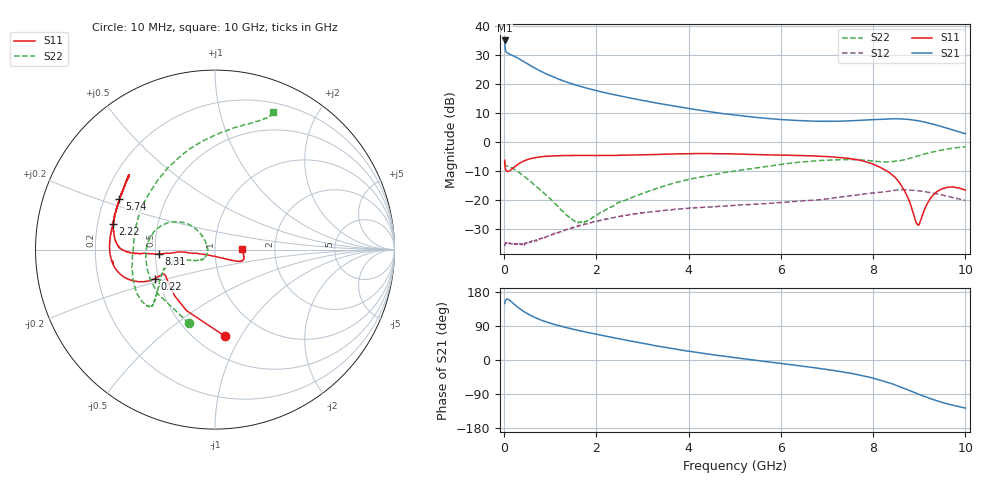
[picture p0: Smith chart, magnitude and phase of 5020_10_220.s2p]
# Hz S  dB  R 50
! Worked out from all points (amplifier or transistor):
!   1000 points, 10 MHz to 10 GHz, reference 50 ohm
!   highest |S21| = 35.0 dB at 10 MHz (marker M1)
!   |S21| within 3 dB of that: start of sweep to 25.94 MHz
!   unconditionally stable (mu >= 1): 58.7 MHz to end of sweep
!   at 1.67 GHz: K = 1.15, MAG = 21.5 dB, |S12| = -28.6 dB
!   at 5.01 GHz: K = 1.10, MAG = 13.6 dB, |S12| = -21.7 dB
!   at 10 GHz: K = 1.10, MAG = 9.5 dB, |S12| = -20.1 dB
!   S11 on the Smith chart (normalised r, x): 10 MHz: 0.68, -0.86; 220 MHz: 0.48, -0.18; 2.22 GHz: 0.26, +0.11; 5.74 GHz: 0.26, +0.23; 8.31 GHz: 0.52, -0.03; 10 GHz: 1.35, +0.00
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1e7  -6.28 -83.5  34.96 148.9  -35.84 38.1  -7.22 -109.4
7e7  -10.14 -151.5  30.63 160.6  -35.08 5.7  -8.29 -176.3
8e7  -10.09 -152.9  30.53 160.2  -34.94 8.4  -8.33 -178.9
1.1e8  -9.98 -154.6  30.31 158.2  -34.81 7.7  -8.48 174.8
2.2e8  -8.61 -154.1  29.53 146.9  -35.24 10.1  -9.34 159.7
3.1e8  -7.54 -155.0  28.75 137.9  -34.87 12.8  -10.29 151.4
4.2e8  -6.58 -157.8  27.72 128.4  -34.78 18.5  -11.63 143.9
5.8e8  -5.69 -162.0  26.21 117.1  -34.31 27.6  -13.68 136.4
7.6e8  -5.15 -166.7  24.66 107.3  -33.55 32.4  -16.13 132.9
9.3e8  -4.88 -170.4  23.34 99.9  -32.52 37.1  -18.51 132.2
1.13e9  -4.72 -174.5  21.98 92.5  -31.14 40.8  -21.58 136.5
1.36e9  -4.64 -178.7  20.63 85.2  -30.08 43.1  -25.24 148.2
1.68e9  -4.61 175.7  19.05 76.1  -28.56 42.3  -27.39 -175.2
2.22e9  -4.62 166.0  16.87 62.4  -26.48 40.7  -23.17 -142.0
3.34e9  -4.26 146.4  13.33 36.4  -23.82 28.5  -15.82 -158.5
5.01e9  -4.09 142.5  9.28 6.1  -21.73 10.4  -9.97 -156.8
5.74e9  -4.42 152.3  8.06 -5.2  -21.08 3.0  -8.30 -145.6
6.67e9  -4.76 168.4  7.22 -19.4  -20.03 -5.8  -6.59 -138.1
8.31e9  -10.09 -175.4  7.92 -58.8  -17.01 -37.0  -6.81 169.0
8.34e9  -10.41 -175.4  7.94 -60.0  -16.90 -37.8  -6.75 166.4
8.97e9  -28.42 -104.4  7.32 -89.4  -16.77 -64.8  -4.76 104.3
1e10  -16.56 0.6  2.88 -126.9  -20.06 -99.9  -1.59 67.2
